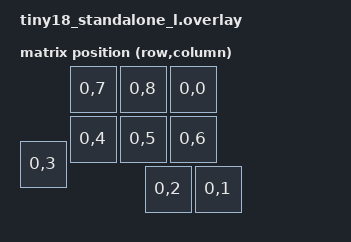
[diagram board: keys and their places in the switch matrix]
#include "../tiny18/tiny18.dtsi"

&default_transform {
    columns = <9>;
    col-offset = <0>;
    map = <RC(0,7) RC(0,8) RC(0,0) RC(0,3) RC(0,4) RC(0,5) RC(0,6) RC(0,2) RC(0,1)>;
};

&tiny18_physical_layout {
    display-name = "Standalone L";
    keys = <&key_physical_attrs 100 100  100    0       0     0     0>,
           <&key_physical_attrs 100 100  200    0       0     0     0>,
           <&key_physical_attrs 100 100  300    0       0     0     0>,
           <&key_physical_attrs 100 100    0  150       0     0     0>,
           <&key_physical_attrs 100 100  100  100       0     0     0>,
           <&key_physical_attrs 100 100  200  100       0     0     0>,
           <&key_physical_attrs 100 100  300  100       0     0     0>,
           <&key_physical_attrs 100 100  250  200       0     0     0>,
           <&key_physical_attrs 100 100  350  200       0     0     0>;
};

&xiao_serial { status = "disabled"; };
